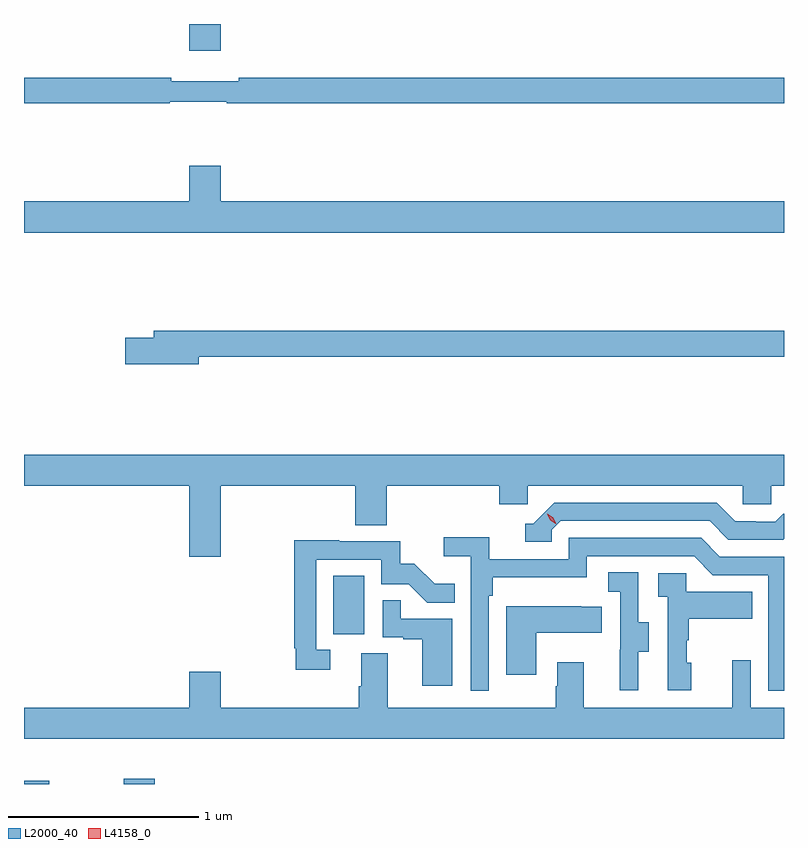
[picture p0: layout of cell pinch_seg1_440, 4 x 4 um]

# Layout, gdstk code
import gdstk
lib = gdstk.Library(unit=1e-6, precision=1e-09)
def R(c, l, rs):  # rectangles x0, y0, x1, y1
    for r in rs: c.add(gdstk.rectangle(r[:2], r[2:], *l))
def P(c, l, *ps):  # polygons
    for p in ps: c.add(gdstk.Polygon(p, *l))
L2000_40 = (2000, 40)
L4158_0 = (4158, 0)

pinch_seg1_440 = lib.new_cell('pinch_seg1_440')
R(pinch_seg1_440, L2000_40, [(991.309,515.53,991.441,515.548), (991.835,515.53,991.996,515.557), (992.936,516.318,993.1,516.625), (992.18,519.39,992.344,519.53)])
P(pinch_seg1_440, L2000_40, [(992.077,519.12),(992.377,519.12),(992.377,519.112),(995.309,519.112),(995.309,519.248),(992.44,519.248),(992.44,519.229),(992.084,519.229),(992.084,519.248),(991.309,519.248),(991.309,519.112),(992.077,519.112)],
  [(995.309,518.596),(992.344,518.596),(992.344,518.785),(992.18,518.785),(992.18,518.596),(991.309,518.596),(991.309,518.432),(995.309,518.432)],
  [(992.23,517.78),(995.309,517.78),(995.309,517.916),(991.991,517.916),(991.991,517.88),(991.842,517.88),(991.842,517.738),(992.23,517.738)],
  [(992.344,517.1),(993.053,517.1),(993.053,516.892),(993.218,516.892),(993.218,517.1),(993.809,517.1),(993.809,517.002),(993.96,517.002),(993.96,517.1),(995.091,517.1),(995.091,517.002),(995.241,517.002),(995.241,517.1),(995.309,517.1),(995.309,517.264),(991.309,517.264),(991.309,517.1),(992.18,517.1),(992.18,516.726),(992.344,516.726)],
  [(994.086,516.867),(994.134,516.915),(994.917,516.915),(995.016,516.816),(995.305,516.816),(995.309,516.82),(995.309,516.952),(995.305,516.952),(995.263,516.909),(995.16,516.909),(995.16,516.912),(995.053,516.912),(994.954,517.011),(994.101,517.011),(993.99,516.9),(993.947,516.9),(993.947,516.804),(994.086,516.804)],
  [(993.756,516.521),(993.776,516.521),(993.776,516.617),(994.272,516.617),(994.272,516.729),(994.836,516.729),(994.935,516.63),(995.226,516.63),(995.226,516.021),(995.309,516.021),(995.309,516.726),(994.972,516.726),(994.873,516.825),(994.176,516.825),(994.176,516.714),(993.758,516.714),(993.758,516.83),(993.519,516.83),(993.519,516.728),(993.66,516.728),(993.66,516.02),(993.756,516.02)],
  [(992.92,516.237),(992.847,516.237),(992.847,516.711),(993.189,516.711),(993.189,516.582),(993.333,516.582),(993.431,516.484),(993.575,516.484),(993.575,516.583),(993.471,516.583),(993.364,516.69),(993.288,516.69),(993.288,516.807),(992.969,516.807),(992.969,516.812),(992.731,516.812),(992.731,516.244),(992.739,516.244),(992.739,516.132),(992.92,516.132)],
  [(994.543,516.226),(994.597,516.226),(994.597,516.381),(994.542,516.381),(994.542,516.644),(994.383,516.644),(994.383,516.541),(994.446,516.541),(994.446,516.237),(994.445,516.237),(994.445,516.024),(994.543,516.024)],
  [(994.822,516.168),(994.797,516.168),(994.797,516.287),(994.807,516.287),(994.807,516.401),(995.141,516.401),(995.141,516.541),(994.794,516.541),(994.794,516.639),(994.647,516.639),(994.647,516.515),(994.698,516.515),(994.698,516.024),(994.822,516.024)],
  [(993.562,516.399),(993.293,516.399),(993.293,516.497),(993.198,516.497),(993.198,516.303),(993.305,516.303),(993.305,516.291),(993.404,516.291),(993.404,516.048),(993.562,516.048)],
  [(994.006,516.326),(994.349,516.326),(994.349,516.463),(994.241,516.463),(994.241,516.466),(993.848,516.466),(993.848,516.105),(994.006,516.105)],
  [(995.309,515.932),(995.133,515.932),(995.133,516.181),(995.036,516.181),(995.036,515.932),(994.255,515.932),(994.255,516.172),(994.115,516.172),(994.115,516.044),(994.108,516.044),(994.108,515.932),(993.223,515.932),(993.223,516.218),(993.083,516.218),(993.083,516.044),(993.071,516.044),(993.071,515.932),(992.344,515.932),(992.344,516.121),(992.18,516.121),(992.18,515.932),(991.309,515.932),(991.309,515.768),(995.309,515.768)])
P(pinch_seg1_440, L4158_0, [(994.108,516.9),(994.078,516.919),(994.062,516.952),(994.062,516.952),(994.062,516.952),(994.093,516.933),(994.109,516.9),(994.109,516.9)])

lib.write_gds('pinch_seg1_440.gds')
